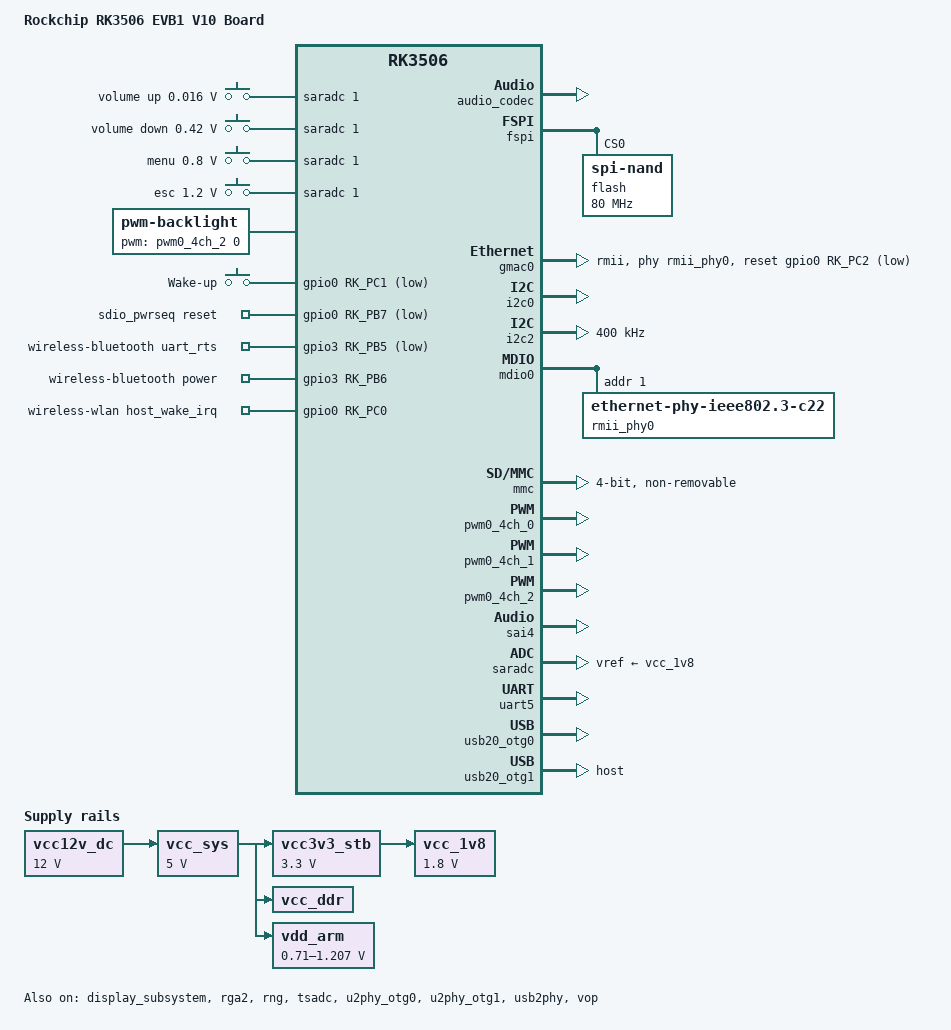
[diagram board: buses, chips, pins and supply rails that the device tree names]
// SPDX-License-Identifier: (GPL-2.0+ OR MIT)
/*
 * Copyright (c) 2024 Rockchip Electronics Co., Ltd.
 */

#include <dt-bindings/display/drm_mipi_dsi.h>
#include <dt-bindings/input/rk-input.h>
#include <dt-bindings/suspend/rockchip-rk3506.h>

/ {
	model = "Rockchip RK3506 EVB1 V10 Board";
	compatible = "rockchip,rk3506-evb1-v10", "rockchip,rk3506";

	chosen {
		bootargs = "earlycon=uart8250,mmio32,0xff0a0000 console=ttyFIQ0 ubi.mtd=5 ubi.block=0,rootfs root=/dev/ubiblock0_0 rootfstype=squashfs rootwait snd_aloop.index=7 snd_aloop.use_raw_jiffies=1";
	};

	acodec_sound: acodec-sound {
		compatible = "simple-audio-card";
		simple-audio-card,name = "rockchip,acodec";
		simple-audio-card,format = "i2s";
		simple-audio-card,mclk-fs = <1024>;
		simple-audio-card,bitclock-master = <&codec_master>;
		simple-audio-card,frame-master = <&codec_master>;
		simple-audio-card,cpu {
			sound-dai = <&sai4>;
		};
		codec_master: simple-audio-card,codec {
			sound-dai = <&audio_codec>;
		};
	};

	adc_keys: adc-keys {
		compatible = "adc-keys";
		io-channels = <&saradc 1>;
		io-channel-names = "buttons";
		keyup-threshold-microvolt = <1800000>;
		poll-interval = <100>;

		vol-up-key {
			label = "volume up";
			linux,code = <KEY_VOLUMEUP>;
			press-threshold-microvolt = <16000>;
		};

		vol-down-key {
			label = "volume down";
			linux,code = <KEY_VOLUMEDOWN>;
			press-threshold-microvolt = <420000>;
		};

		menu-key {
			label = "menu";
			linux,code = <KEY_MENU>;
			press-threshold-microvolt = <800000>;
		};

		esc-key {
			label = "esc";
			linux,code = <KEY_ESC>;
			press-threshold-microvolt = <1200000>;
		};
	};

	backlight: backlight {
		compatible = "pwm-backlight";
		pwms = <&pwm0_4ch_2 0 25000 0>;
		brightness-levels = <
			  0  20  20  21  21  22  22  23
			 23  24  24  25  25  26  26  27
			 27  28  28  29  29  30  30  31
			 31  32  32  33  33  34  34  35
			 35  36  36  37  37  38  38  39
			 40  41  42  43  44  45  46  47
			 48  49  50  51  52  53  54  55
			 56  57  58  59  60  61  62  63
			 64  65  66  67  68  69  70  71
			 72  73  74  75  76  77  78  79
			 80  81  82  83  84  85  86  87
			 88  89  90  91  92  93  94  95
			 96  97  98  99 100 101 102 103
			104 105 106 107 108 109 110 111
			112 113 114 115 116 117 118 119
			120 121 122 123 124 125 126 127
			128 129 130 131 132 133 134 135
			136 137 138 139 140 141 142 143
			144 145 146 147 148 149 150 151
			152 153 154 155 156 157 158 159
			160 161 162 163 164 165 166 167
			168 169 170 171 172 173 174 175
			176 177 178 179 180 181 182 183
			184 185 186 187 188 189 190 191
			192 193 194 195 196 197 198 199
			200 201 202 203 204 205 206 207
			208 209 210 211 212 213 214 215
			216 217 218 219 220 221 222 223
			224 225 226 227 228 229 230 231
			232 233 234 235 236 237 238 239
			240 241 242 243 244 245 246 247
			248 249 250 251 252 253 254 255
		>;
		default-brightness-level = <200>;
		status = "okay";
	};

	dsm_sound: dsm-sound {
		status = "disabled";
		compatible = "simple-audio-card";
		simple-audio-card,format = "i2s";
		simple-audio-card,mclk-fs = <256>;
		simple-audio-card,name = "rockchip,dsm-sound";
		simple-audio-card,bitclock-master = <&sndcodec>;
		simple-audio-card,frame-master = <&sndcodec>;
		sndcpu: simple-audio-card,cpu {
			sound-dai = <&sai3>;
		};
		sndcodec: simple-audio-card,codec {
			sound-dai = <&acdcdig_dsm>;
		};
	};

	es8388_sound: es8388-sound {
		status = "disabled";
		compatible = "rockchip,multicodecs-card";
		rockchip,card-name = "rockchip-es8388";
		spk-con-gpio = <&gpio1 RK_PC6 GPIO_ACTIVE_HIGH>;
		rockchip,pre-power-on-delay-ms = <30>;
		rockchip,post-power-down-delay-ms = <40>;
		rockchip,format = "i2s";
		rockchip,mclk-fs = <256>;
		rockchip,cpu = <&sai1>;
		rockchip,codec = <&es8388>;
		rockchip,audio-routing =
			"Speaker", "LOUT1",
			"Speaker", "ROUT1",
			"Speaker", "Speaker Power",
			"Speaker", "Speaker Power",
			"LINPUT1", "Main Mic",
			"LINPUT2", "Main Mic",
			"RINPUT1", "Main Mic",
			"RINPUT2", "Main Mic";
		pinctrl-names = "default";
		pinctrl-0 = <&spk_ctrl>;
	};

	fiq_debugger: fiq-debugger {
		compatible = "rockchip,fiq-debugger";
		rockchip,serial-id = <0>;
		rockchip,wake-irq = <0>;
		rockchip,irq-mode-enable = <1>;
		rockchip,baudrate = <1500000>;	/* Only 115200 and 1500000 */
		interrupts = <GIC_SPI 115 IRQ_TYPE_LEVEL_HIGH>;
	};

	gpio_keys: gpio-keys {
		compatible = "gpio-keys";
		pinctrl-names = "default";
		pinctrl-0 = <&key_wake_up>;

		wake_up: wake-up {
			label = "Wake-up";
			gpios = <&gpio0 RK_PC1 GPIO_ACTIVE_LOW>;
			linux,code = <KEY_WAKEUP>;
			wakeup-source;
		};
	};

	vcc12v_dc: vcc12v-dc {
		compatible = "regulator-fixed";
		regulator-name = "vcc12v_dc";
		regulator-always-on;
		regulator-boot-on;
		regulator-min-microvolt = <12000000>;
		regulator-max-microvolt = <12000000>;
	};

	vcc_sys: vcc-sys {
		compatible = "regulator-fixed";
		regulator-name = "vcc_sys";
		regulator-always-on;
		regulator-boot-on;
		regulator-min-microvolt = <5000000>;
		regulator-max-microvolt = <5000000>;
		vin-supply = <&vcc12v_dc>;
	};

	vcc3v3_stb: vcc3v3-stb {
		compatible = "regulator-fixed";
		regulator-name = "vcc3v3_stb";
		regulator-always-on;
		regulator-boot-on;
		regulator-min-microvolt = <3300000>;
		regulator-max-microvolt = <3300000>;
		vin-supply = <&vcc_sys>;
	};

	vcc_1v8: vcc-1v8 {
		compatible = "regulator-fixed";
		regulator-name = "vcc_1v8";
		regulator-always-on;
		regulator-boot-on;
		regulator-min-microvolt = <1800000>;
		regulator-max-microvolt = <1800000>;
		vin-supply = <&vcc3v3_stb>;
	};

	vcc_ddr: vcc-ddr {
		compatible = "regulator-fixed";
		regulator-name = "vcc_ddr";
		regulator-always-on;
		regulator-boot-on;
		vin-supply = <&vcc_sys>;
	};

	vdd_arm: vdd-arm {
		compatible = "pwm-regulator";
		pwms = <&pwm0_4ch_0 0 5000 1>;
		regulator-name = "vdd_arm";
		regulator-min-microvolt = <710000>;
		regulator-max-microvolt = <1207000>;
		regulator-init-microvolt = <1011000>;
		regulator-always-on;
		regulator-boot-on;
		regulator-settling-time-up-us = <250>;
		pwm-supply = <&vcc_sys>;
	};

	sdio_pwrseq: sdio-pwrseq {
		compatible = "mmc-pwrseq-simple";
		pinctrl-names = "default";
		pinctrl-0 = <&wifi_enable_h>;

		/*
		 * On the module itself this is one of these (depending
		 * on the actual card populated):
		 * - SDIO_RESET_L_WL_REG_ON
		 * - PDN (power down when low)
		 */
		reset-gpios = <&gpio0 RK_PB7 GPIO_ACTIVE_LOW>;
	};

	wireless-bluetooth {
		compatible = "bluetooth-platdata";
		uart_rts_gpios = <&gpio3 RK_PB5 GPIO_ACTIVE_LOW>;
		pinctrl-names = "default", "rts_gpio";
		pinctrl-0 = <&uart5m0_rtsn_pins>;
		pinctrl-1 = <&uart5_gpios>;
		BT,power_gpio    = <&gpio3 RK_PB6 GPIO_ACTIVE_HIGH>;
		status = "okay";
	};

	wireless-wlan {
		compatible = "wlan-platdata";
		rockchip,grf = <&grf>;
		pinctrl-names = "default";
		pinctrl-0 = <&wifi_wake_host>;
		wifi_chip_type = "cyw43455";
		WIFI,host_wake_irq = <&gpio0 RK_PC0 GPIO_ACTIVE_HIGH>;
		status = "okay";
	};
};

&audio_codec {
	status = "okay";
};

&can0 {
	assigned-clocks = <&cru CLK_CAN0>;
	assigned-clock-rates = <200000000>;
	pinctrl-0 = <&rm_io30_can0_tx &rm_io31_can0_rx>;
	pinctrl-names = "default";
	status = "disabled";
};

&cma {
	size = <0x800000>;
};

&cpu0 {
	cpu-supply = <&vdd_arm>;
};

&display_subsystem {
	logo-memory-region = <&drm_logo>;
	status = "okay";
};

&dsi {
	status = "disabled";
	rockchip,lane-rate = <850>;
	dsi_panel: panel@0 {
		status = "okay";
		compatible = "simple-panel-dsi";
		reg = <0>;
		backlight = <&backlight>;
		prepare-delay-ms = <5>;
		reset-delay-ms = <1>;
		init-delay-ms = <80>;
		disable-delay-ms = <10>;
		unprepare-delay-ms = <5>;

		width-mm = <68>;
		height-mm = <121>;

		dsi,flags = <(MIPI_DSI_MODE_VIDEO | MIPI_DSI_MODE_VIDEO_BURST |
			      MIPI_DSI_MODE_LPM | MIPI_DSI_MODE_NO_EOT_PACKET)>;
		dsi,format = <MIPI_DSI_FMT_RGB888>;
		dsi,lanes  = <2>;
		panel-init-sequence = [
			39 00 04 ff 98 81 03
			15 00 02 01 00
			15 00 02 02 00
			15 00 02 03 53
			15 00 02 04 53
			15 00 02 05 13
			15 00 02 06 04
			15 00 02 07 02
			15 00 02 08 02
			15 00 02 09 00
			15 00 02 0a 00
			15 00 02 0b 00
			15 00 02 0c 00
			15 00 02 0d 00
			15 00 02 0e 00
			15 00 02 0f 00
			15 00 02 10 00
			15 00 02 11 00
			15 00 02 12 00
			15 00 02 13 00
			15 00 02 14 00
			15 00 02 15 08
			15 00 02 16 10
			15 00 02 17 00
			15 00 02 18 08
			15 00 02 19 00
			15 00 02 1a 00
			15 00 02 1b 00
			15 00 02 1c 00
			15 00 02 1d 00
			15 00 02 1e c0
			15 00 02 1f 80
			15 00 02 20 02
			15 00 02 21 09
			15 00 02 22 00
			15 00 02 23 00
			15 00 02 24 00
			15 00 02 25 00
			15 00 02 26 00
			15 00 02 27 00
			15 00 02 28 55
			15 00 02 29 03
			15 00 02 2a 00
			15 00 02 2b 00
			15 00 02 2c 00
			15 00 02 2d 00
			15 00 02 2e 00
			15 00 02 2f 00
			15 00 02 30 00
			15 00 02 31 00
			15 00 02 32 00
			15 00 02 33 00
			15 00 02 34 04
			15 00 02 35 05
			15 00 02 36 05
			15 00 02 37 00
			15 00 02 38 3c
			15 00 02 39 35
			15 00 02 3a 00
			15 00 02 3b 40
			15 00 02 3c 00
			15 00 02 3d 00
			15 00 02 3e 00
			15 00 02 3f 00
			15 00 02 40 00
			15 00 02 41 88
			15 00 02 42 00
			15 00 02 43 00
			15 00 02 44 1f
			15 00 02 50 01
			15 00 02 51 23
			15 00 02 52 45
			15 00 02 53 67
			15 00 02 54 89
			15 00 02 55 ab
			15 00 02 56 01
			15 00 02 57 23
			15 00 02 58 45
			15 00 02 59 67
			15 00 02 5a 89
			15 00 02 5b ab
			15 00 02 5c cd
			15 00 02 5d ef
			15 00 02 5e 03
			15 00 02 5f 14
			15 00 02 60 15
			15 00 02 61 0c
			15 00 02 62 0d
			15 00 02 63 0e
			15 00 02 64 0f
			15 00 02 65 10
			15 00 02 66 11
			15 00 02 67 08
			15 00 02 68 02
			15 00 02 69 0a
			15 00 02 6a 02
			15 00 02 6b 02
			15 00 02 6c 02
			15 00 02 6d 02
			15 00 02 6e 02
			15 00 02 6f 02
			15 00 02 70 02
			15 00 02 71 02
			15 00 02 72 06
			15 00 02 73 02
			15 00 02 74 02
			15 00 02 75 14
			15 00 02 76 15
			15 00 02 77 0f
			15 00 02 78 0e
			15 00 02 79 0d
			15 00 02 7a 0c
			15 00 02 7b 11
			15 00 02 7c 10
			15 00 02 7d 06
			15 00 02 7e 02
			15 00 02 7f 0a
			15 00 02 80 02
			15 00 02 81 02
			15 00 02 82 02
			15 00 02 83 02
			15 00 02 84 02
			15 00 02 85 02
			15 00 02 86 02
			15 00 02 87 02
			15 00 02 88 08
			15 00 02 89 02
			15 00 02 8a 02
			39 00 04 ff 98 81 04
			15 00 02 00 80
			15 00 02 70 00
			15 00 02 71 00
			15 00 02 66 fe
			15 00 02 82 15
			15 00 02 84 15
			15 00 02 85 15
			15 00 02 3a 24
			15 00 02 32 ac
			15 00 02 8c 80
			15 00 02 3c f5
			15 00 02 88 33
			39 00 04 ff 98 81 01
			15 00 02 22 0a
			15 00 02 31 00
			15 00 02 53 78
			15 00 02 55 7b
			15 00 02 60 20
			15 00 02 61 00
			15 00 02 62 0d
			15 00 02 63 00
			15 00 02 a0 00
			15 00 02 a1 10
			15 00 02 a2 1c
			15 00 02 a3 13
			15 00 02 a4 15
			15 00 02 a5 26
			15 00 02 a6 1a
			15 00 02 a7 1d
			15 00 02 a8 67
			15 00 02 a9 1c
			15 00 02 aa 29
			15 00 02 ab 5b
			15 00 02 ac 26
			15 00 02 ad 28
			15 00 02 ae 5c
			15 00 02 af 30
			15 00 02 b0 31
			15 00 02 b1 32
			15 00 02 b2 00
			15 00 02 b1 2e
			15 00 02 b2 32
			15 00 02 b3 00
			15 00 02 b6 02
			15 00 02 b7 03
			15 00 02 c0 00
			15 00 02 c1 10
			15 00 02 c2 1c
			15 00 02 c3 13
			15 00 02 c4 15
			15 00 02 c5 26
			15 00 02 c6 1a
			15 00 02 c7 1d
			15 00 02 c8 67
			15 00 02 c9 1c
			15 00 02 ca 29
			15 00 02 cb 5b
			15 00 02 cc 26
			15 00 02 cd 28
			15 00 02 ce 5c
			15 00 02 cf 30
			15 00 02 d0 31
			15 00 02 d1 2e
			15 00 02 d2 32
			15 00 02 d3 00
			39 00 04 ff 98 81 00
			05 96 01 11
			05 14 01 29
		];

		disp_timings0: display-timings {
			native-mode = <&dsi_timing0>;
			dsi_timing0: timing0 {
				clock-frequency = <65000000>;
				hactive = <720>;
				vactive = <1280>;
				hfront-porch = <48>;
				hsync-len = <8>;
				hback-porch = <52>;
				vfront-porch = <16>;
				vsync-len = <6>;
				vback-porch = <15>;
				hsync-active = <0>;
				vsync-active = <0>;
				de-active = <0>;
				pixelclk-active = <0>;
			};
		};

		ports {
			#address-cells = <1>;
			#size-cells = <0>;

			port@0 {
				reg = <0>;
				panel_in_dsi: endpoint {
					remote-endpoint = <&dsi_out_panel>;
				};
			};
		};
	};

	ports {
		#address-cells = <1>;
		#size-cells = <0>;

		port@1 {
			reg = <1>;
			dsi_out_panel: endpoint {
				remote-endpoint = <&panel_in_dsi>;
			};
		};
	};

};

&dsi_in_vop {
	status = "disabled";
};

&flexbus_fspi {
	pinctrl-names = "default";
	pinctrl-0 = <&flexbus0m1_pins &flexbus0_clk_pins
		     &flexbus0_d0_pins &flexbus0_d1_pins
		     &flexbus0_d2_pins &flexbus0_d3_pins>;
	status = "disabled";

	flash@0 {
		compatible = "jedec,spi-nor";
		reg = <0>;
		spi-max-frequency = <100000000>;
		spi-rx-bus-width = <4>;
		spi-tx-bus-width = <1>;
	};
};

&fspi {
	status = "okay";

	flash@0 {
		compatible = "spi-nand";
		reg = <0>;
		spi-max-frequency = <80000000>;
		spi-rx-bus-width = <4>;
		spi-tx-bus-width = <1>;
	};
};

&gmac0 {
	phy-mode = "rmii";
	clock_in_out = "output";

	snps,reset-gpio = <&gpio0 RK_PC2 GPIO_ACTIVE_LOW>;
	snps,reset-active-low;
	snps,reset-delays-us = <0 20000 100000>;

	pinctrl-names = "default";
	pinctrl-0 = <&eth_rmii0_miim_pins
		     &eth_rmii0_tx_bus2_pins
		     &eth_rmii0_rx_bus2_pins
		     &eth_rmii0_clk_pins>;

	phy-handle = <&rmii_phy0>;
	status = "okay";
};

&i2c0 {
	status = "okay";
	pinctrl-names = "default";
	pinctrl-0 = <&rm_io13_i2c0_scl
		     &rm_io14_i2c0_sda>;

	es8388: es8388@11 {
		status = "disabled";
		#sound-dai-cells = <0>;
		compatible = "everest,es8388", "everest,es8323";
		reg = <0x11>;
		clocks = <&mclkout_sai1>;
		clock-names = "mclk";
		assigned-clocks = <&mclkout_sai1>;
		assigned-clock-rates = <12288000>;
		pinctrl-names = "default";
		pinctrl-0 = <&rm_io8_sai1_mclk>;
	};
};

&i2c2 {
	clock-frequency = <400000>;
	pinctrl-names = "default";
	pinctrl-0 = <&rm_io4_i2c2_scl &rm_io5_i2c2_sda>;
	status = "okay";

	gt1x: gt1x@14 {
		compatible = "goodix,gt1x";
		reg = <0x14>;
		gtp_ics_slot_report;
		goodix,rst-gpio = <&gpio0 RK_PA7 GPIO_ACTIVE_HIGH>;
		goodix,irq-gpio = <&gpio0 RK_PA6 GPIO_ACTIVE_LOW>;
		status = "disabled";
	};
};

&mdio0 {
	rmii_phy0: phy@1 {
		compatible = "ethernet-phy-ieee802.3-c22";
		reg = <0x1>;
	};
};

&mmc {
	bus-width = <4>;
	cap-sd-highspeed;
	no-sd;
	no-mmc;
	pinctrl-names = "default";
	pinctrl-0 = <&sdmmc_clk_pins &sdmmc_cmd_pins &sdmmc_bus4_pins>;
	ignore-pm-notify;
	keep-power-in-suspend;
	non-removable;
	mmc-pwrseq = <&sdio_pwrseq>;
	sd-uhs-sdr104;
	status = "okay";
};

&pinctrl {
	gpio-keys {
		key_wake_up: key-wake-up {
			rockchip,pins = <0 RK_PC1 RK_FUNC_GPIO &pcfg_pull_none>;
		};
	};

	sdio-pwrseq {
		wifi_enable_h: wifi-enable-h {
			rockchip,pins = <0 RK_PB7 RK_FUNC_GPIO &pcfg_pull_none>;
		};
	};

	speaker {
		spk_ctrl: spk-ctrl {
			rockchip,pins = <1 RK_PC6 RK_FUNC_GPIO &pcfg_pull_none>;
		};
	};

	wireless-bluetooth {
		uart5_gpios: uart5-gpios {
			rockchip,pins = <3 RK_PB5 RK_FUNC_GPIO &pcfg_pull_none>;
		};
	};

	wireless-wlan {
		wifi_wake_host: wifi-wake-host {
			rockchip,pins = <0 RK_PC0 RK_FUNC_GPIO &pcfg_pull_up>;
		};
	};
};

&pwm0_4ch_0 {
	pinctrl-names = "active";
	pinctrl-0 = <&rm_io21_pwm0_ch0>;
	status = "okay";
};

&pwm0_4ch_1 {
	pinctrl-names = "active";
	pinctrl-0 = <&rm_io20_pwm0_ch1>;
	status = "okay";
};

&pwm0_4ch_2 {
	pinctrl-names = "active";
	pinctrl-0 = <&rm_io3_pwm0_ch2>;
	status = "okay";
};

&rga2 {
	status = "okay";
};

&rng {
	status = "okay";
};

&rockchip_suspend {
	rockchip,sleep-mode-config = <
		(0
		| RKPM_ARMOFF_DDRPD
		| RKPM_24M_OSC_DIS
		| RKPM_32K_CLK
		| RKPM_32K_SRC_RC
		| RKPM_PWM0_CH0_REGULATOR
		)
	>;

	rockchip,apios-suspend = <
		(0
		| RKPM_PWREN_CORE_GPIO0A2 | RKPM_PWREN_CORE_ACT_LOW
		| RKPM_PWREN_SLEEP_GPIO0A0 | RKPM_PWREN_SLEEP_ACT_LOW
		)
	>;
};

&sai1 {
	pinctrl-names = "default";
	pinctrl-0 = <&rm_io9_sai1_sclk
		     &rm_io10_sai1_lrck
		     &rm_io11_sai1_sdi
		     &rm_io12_sai1_sdo0>;
};

&sai4 {
	status = "okay";
};

&saradc {
	vref-supply = <&vcc_1v8>;
	status = "okay";
};

&tsadc {
	status = "okay";
};

&uart5 {
	pinctrl-0 = <&uart5m0_xfer_pins &uart5m0_ctsn_pins>;
	status = "okay";
};

&u2phy_otg0 {
	status = "okay";
};

&u2phy_otg1 {
	status = "okay";
};

&usb2phy {
	status = "okay";
};

&usb20_otg0 {
	status = "okay";
};

&usb20_otg1 {
	dr_mode = "host";
	status = "okay";
};

&vop {
	status = "okay";
};
